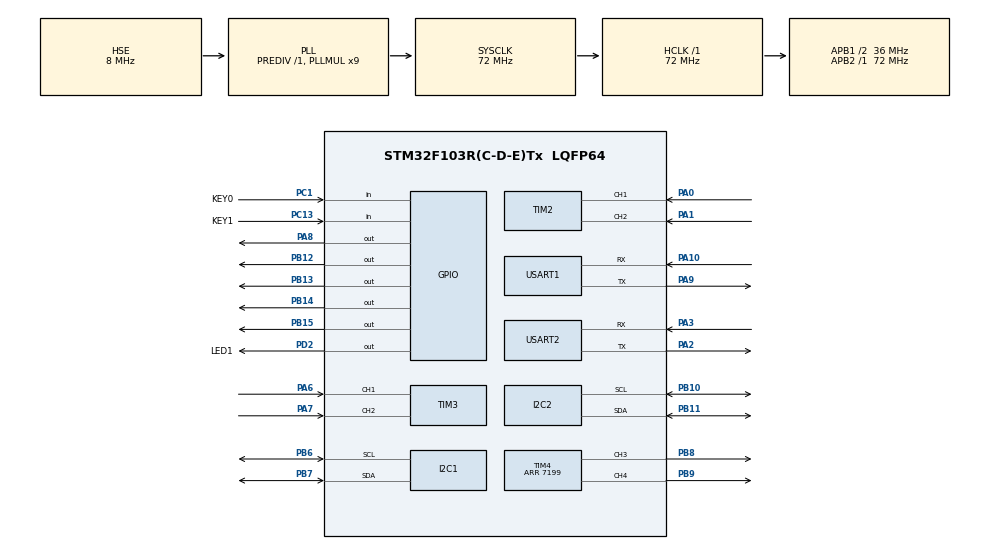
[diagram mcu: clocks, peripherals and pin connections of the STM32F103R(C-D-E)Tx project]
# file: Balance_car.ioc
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I2C1.I2C_Mode=I2C_Standard
I2C2.I2C_Mode=I2C_Fast
Mcu.Family=STM32F1
Mcu.Name=STM32F103R(C-D-E)Tx
Mcu.Package=LQFP64
NVIC.PriorityGroup=NVIC_PRIORITYGROUP_4
NVIC.TIM5_IRQn=true\:0\:0\:false\:false\:true\:true\:true\:true
NVIC.USART2_IRQn=true\:0\:0\:false\:false\:true\:true\:true\:true
PA0-WKUP.Signal=S_TIM2_CH1_ETR
PA1.Signal=S_TIM2_CH2
PA10.Mode=Asynchronous
PA10.Signal=USART1_RX
PA13.Mode=Serial_Wire
PA13.Signal=SYS_JTMS-SWDIO
PA14.Mode=Serial_Wire
PA14.Signal=SYS_JTCK-SWCLK
PA2.Mode=Asynchronous
PA2.Signal=USART2_TX
PA3.Mode=Asynchronous
PA3.Signal=USART2_RX
PA6.Signal=S_TIM3_CH1
PA7.Signal=S_TIM3_CH2
PA8.Signal=GPIO_Output
PA9.Mode=Asynchronous
PA9.Signal=USART1_TX
PB10.Mode=I2C
PB10.Signal=I2C2_SCL
PB11.Mode=I2C
PB11.Signal=I2C2_SDA
PB12.Signal=GPIO_Output
PB13.Signal=GPIO_Output
PB14.Signal=GPIO_Output
PB15.Signal=GPIO_Output
PB6.Mode=I2C
PB6.Signal=I2C1_SCL
PB7.Mode=I2C
PB7.Signal=I2C1_SDA
PB8.Signal=S_TIM4_CH3
PB9.Signal=S_TIM4_CH4
PC1.GPIO_Label=KEY0
PC1.Signal=GPIO_Input
PC13-TAMPER-RTC.GPIO_Label=KEY1
PC13-TAMPER-RTC.Signal=GPIO_Input
PD0-OSC_IN.Mode=HSE-External-Oscillator
PD0-OSC_IN.Signal=RCC_OSC_IN
PD1-OSC_OUT.Mode=HSE-External-Oscillator
PD1-OSC_OUT.Signal=RCC_OSC_OUT
PD2.GPIO_Label=LED1
PD2.Signal=GPIO_Output
ProjectManager.HeapSize=0x200
ProjectManager.StackSize=0x400
ProjectManager.TargetToolchain=MDK-ARM V5.32
RCC.AHBFreq_Value=72000000
RCC.APB1CLKDivider=RCC_HCLK_DIV2
RCC.APB1Freq_Value=36000000
RCC.APB1TimFreq_Value=72000000
RCC.APB2Freq_Value=72000000
RCC.APB2TimFreq_Value=72000000
RCC.HCLKFreq_Value=72000000
RCC.PLLMUL=RCC_PLL_MUL9
RCC.PLLSourceVirtual=RCC_PLLSOURCE_HSE
RCC.SYSCLKFreq_VALUE=72000000
RCC.SYSCLKSource=RCC_SYSCLKSOURCE_PLLCLK
RCC.USBFreq_Value=72000000
SH.S_TIM2_CH1_ETR.0=TIM2_CH1,Encoder_Interface
SH.S_TIM2_CH2.0=TIM2_CH2,Encoder_Interface
SH.S_TIM3_CH1.0=TIM3_CH1,Encoder_Interface
SH.S_TIM3_CH2.0=TIM3_CH2,Encoder_Interface
SH.S_TIM4_CH3.0=TIM4_CH3,PWM Generation3 CH3
SH.S_TIM4_CH4.0=TIM4_CH4,PWM Generation4 CH4
TIM2.EncoderMode=TIM_ENCODERMODE_TI12
TIM3.EncoderMode=TIM_ENCODERMODE_TI12
TIM4.Channel-PWM\ Generation3\ CH3=TIM_CHANNEL_3
TIM4.Channel-PWM\ Generation4\ CH4=TIM_CHANNEL_4
TIM4.Period=7199
TIM5.AutoReloadPreload=TIM_AUTORELOAD_PRELOAD_ENABLE
TIM5.Period=49
TIM5.Prescaler=7199
USART1.VirtualMode=VM_ASYNC
USART2.VirtualMode=VM_ASYNC
VP_TIM5_VS_ClockSourceITR.Mode=TriggerSource_ITR0
board=custom

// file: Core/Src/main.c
/* USER CODE BEGIN Header */
/**
 ******************************************************************************
 * @file           : main.c
 * @brief          : Main program body
 ******************************************************************************
 * @attention
 *
 * Copyright (c) 2022 STMicroelectronics.
 * All rights reserved.
 *
 * This software is licensed under terms that can be found in the LICENSE file
 * in the root directory of this software component.
 * If no LICENSE file comes with this software, it is provided AS-IS.
 *
 ******************************************************************************
 */
/* USER CODE END Header */
#include "main.h"
#include "i2c.h"
#include "tim.h"
#include "usart.h"
#include "gpio.h"
#include "oled.h"
#include "mpu6050.h"
#include "stdio.h"
#include "Motor.h"
#include "PID.h"

/* USER CODE BEGIN PV */
float MotorSpeed1;
float MotorSpeed2;

/* USER CODE END PV */

void SystemClock_Config(void);

int main(void)
{

  /* MCU Configuration--------------------------------------------------------*/

  /* Reset of all peripherals, Initializes the Flash interface and the Systick. */
  HAL_Init();

  /* Configure the system clock */
  SystemClock_Config();

  /* Initialize all configured peripherals */
  MX_GPIO_Init();
  MX_I2C1_Init();
  MX_I2C2_Init();
  MX_TIM2_Init();
  MX_TIM3_Init();
  MX_TIM4_Init();
  MX_USART1_UART_Init();
  MX_TIM5_Init();
  MX_USART2_UART_Init();
  /* USER CODE BEGIN 2 */
  HAL_TIM_Base_Start_IT(&htim5);
  OLED_Init();
  OLED_CLS();

  while (w_mpu_init() != mpu_ok)
  {
  }
  dmp_init();

  HAL_TIM_Encoder_Start(&htim2, TIM_CHANNEL_1); // 开启编码器A
  HAL_TIM_Encoder_Start(&htim2, TIM_CHANNEL_2); // 开启编码器B
  HAL_TIM_Encoder_Start(&htim3, TIM_CHANNEL_1); // 开启编码器A
  HAL_TIM_Encoder_Start(&htim3, TIM_CHANNEL_2); // 开启编码器B

  HAL_TIM_PWM_Start(&htim4, TIM_CHANNEL_3); // 开启PWM-CH3
  HAL_TIM_PWM_Start(&htim4, TIM_CHANNEL_4); // 开启PWM-CH4

  HAL_GPIO_WritePin(GPIOA, GPIO_PIN_8, GPIO_PIN_RESET);
  OLED_ShowStr(24, 5, "hello", 1);

  float kp = 160, kd = 40, velocity_KP = 100, velocity_KI = 0.05;
  // float kp=160,kd=40,velocity_KP=-100,velocity_KI=-1;

  int pwm_val = 4000;
  /* USER CODE END 2 */

  /* Infinite loop */
  /* USER CODE BEGIN WHILE */
  while (1)
  {

    /*
    //闪烁的led灯
    HAL_GPIO_WritePin(LED1_GPIO_Port,LED1_Pin,GPIO_PIN_SET);
    HAL_Delay(1000);
    HAL_GPIO_WritePin(LED1_GPIO_Port,LED1_Pin,GPIO_PIN_RESET);
    HAL_Delay(1000);

    */

    /*
    MotorDriver_SetPWMDuty(1,pwm_val);
    MotorDriver_SetPWMDuty(2,pwm_val);

    //读取电机转动速度
    char strx[20],stry[20],strz[20];
    sprintf(strx, "right== %.3f  ", MotorSpeed2);
    OLED_ShowStr(24,1,strx,1);
    sprintf(strx, "left== %.3f   ", MotorSpeed1);
    OLED_ShowStr(24,2,strx,1);
    sprintf(strz, "pwm== %d   ", pwm_val);
    OLED_ShowStr(24,3,strz,1);

    */

    w_mpu_read_all_raw_data(&mpu_raw_msg);
    read_dmp(&mpu_pose_msg);

    int Balance_Pwm;
    int target = 3000;
    int velocity_pwm;
    Balance_Pwm = balance(mpu_pose_msg.pitch, mpu_raw_msg.mpu_gyro[1], kp, kd);
    velocity_pwm = velocity(MotorSpeed1, MotorSpeed2, velocity_KP, velocity_KI);

    if (Balance_Pwm > 0)
      target = 3000 + Balance_Pwm;
    else
      target = -3000 + Balance_Pwm;
    if (velocity_pwm > 0)
      target = target + velocity_pwm;
    else
      target = target + velocity_pwm;

    MotorDriver_SetPWMDuty(1, -target);
    MotorDriver_SetPWMDuty(2, -target);

    /*
  //读取mpu所有原始数据
    w_mpu_read_all_raw_data(&mpu_raw_msg);

    char strx[20],stry[20],strz[20];
    sprintf(strx, "gx== %.3f", mpu_raw_msg.mpu_gyro[0]);
    sprintf(stry, "gy== %.3f", mpu_raw_msg.mpu_gyro[1]);
    sprintf(strz, "gz== %.3f", mpu_raw_msg.mpu_gyro[2]);
    OLED_ShowStr(24,1,strx,1);
    OLED_ShowStr(24,2,stry,1);
    OLED_ShowStr(24,3,strz,1);

    //读取mpu姿态
    read_dmp(&mpu_pose_msg);
    //char strx[20],stry[20],strz[20];
    sprintf(strx, "pitch== %.3f", mpu_pose_msg.pitch);
    sprintf(stry, "roll== %.3f", mpu_pose_msg.roll);
    sprintf(strz, "yaw== %.3f", mpu_pose_msg.yaw);
    OLED_ShowStr(24,4,strx,1);
    OLED_ShowStr(24,5,stry,1);
    OLED_ShowStr(24,6,strz,1);
    */
  }
}

void SystemClock_Config(void)
{
  RCC_OscInitTypeDef RCC_OscInitStruct = {0};
  RCC_ClkInitTypeDef RCC_ClkInitStruct = {0};

  /** Initializes the RCC Oscillators according to the specified parameters
   * in the RCC_OscInitTypeDef structure.
   */
  RCC_OscInitStruct.OscillatorType = RCC_OSCILLATORTYPE_HSE;
  RCC_OscInitStruct.HSEState = RCC_HSE_ON;
  RCC_OscInitStruct.HSEPredivValue = RCC_HSE_PREDIV_DIV1;
  RCC_OscInitStruct.HSIState = RCC_HSI_ON;
  RCC_OscInitStruct.PLL.PLLState = RCC_PLL_ON;
  RCC_OscInitStruct.PLL.PLLSource = RCC_PLLSOURCE_HSE;
  RCC_OscInitStruct.PLL.PLLMUL = RCC_PLL_MUL9;
  if (HAL_RCC_OscConfig(&RCC_OscInitStruct) != HAL_OK)
  {
    Error_Handler();
  }
  /** Initializes the CPU, AHB and APB buses clocks
   */
  RCC_ClkInitStruct.ClockType = RCC_CLOCKTYPE_HCLK | RCC_CLOCKTYPE_SYSCLK | RCC_CLOCKTYPE_PCLK1 | RCC_CLOCKTYPE_PCLK2;
  RCC_ClkInitStruct.SYSCLKSource = RCC_SYSCLKSOURCE_PLLCLK;
  RCC_ClkInitStruct.AHBCLKDivider = RCC_SYSCLK_DIV1;
  RCC_ClkInitStruct.APB1CLKDivider = RCC_HCLK_DIV2;
  RCC_ClkInitStruct.APB2CLKDivider = RCC_HCLK_DIV1;

  if (HAL_RCC_ClockConfig(&RCC_ClkInitStruct, FLASH_LATENCY_2) != HAL_OK)
  {
    Error_Handler();
  }
}

/* USER CODE BEGIN 4 */
void HAL_TIM_PeriodElapsedCallback(TIM_HandleTypeDef *htim)
{
  // HAL_GPIO_TogglePin(LED1_GPIO_Port,LED1_Pin);
  if (htim == (&htim5))
  {
    // 1.获取电机速度
    MotorSpeed1 = (float)(__HAL_TIM_GET_COUNTER(&htim3));
    // TIM4计数器获得电机脉冲，该电机在10ms采样的脉冲/18则为实际转速的rpm
    __HAL_TIM_SET_COUNTER(&htim3, 0); // 计数器清零

    if (MotorSpeed1 > 55000)
    {
      MotorSpeed1 -= 65536;
    }
    MotorSpeed1 = MotorSpeed1 / 10.0 * 100;
    // 2.获取电机速度
    MotorSpeed2 = (float)(__HAL_TIM_GET_COUNTER(&htim2));
    // TIM4计数器获得电机脉冲，该电机在10ms采样的脉冲/18则为实际转速的rpm
    __HAL_TIM_SET_COUNTER(&htim2, 0); // 计数器清零

    if (MotorSpeed2 > 55000)
    {
      MotorSpeed2 -= 65536;
    }
    MotorSpeed2 = MotorSpeed2 / 10.0 * 100;
  }
}
/* USER CODE END 4 */

void Error_Handler(void)
{
  __disable_irq();
  while (1)
  {
  }
}
